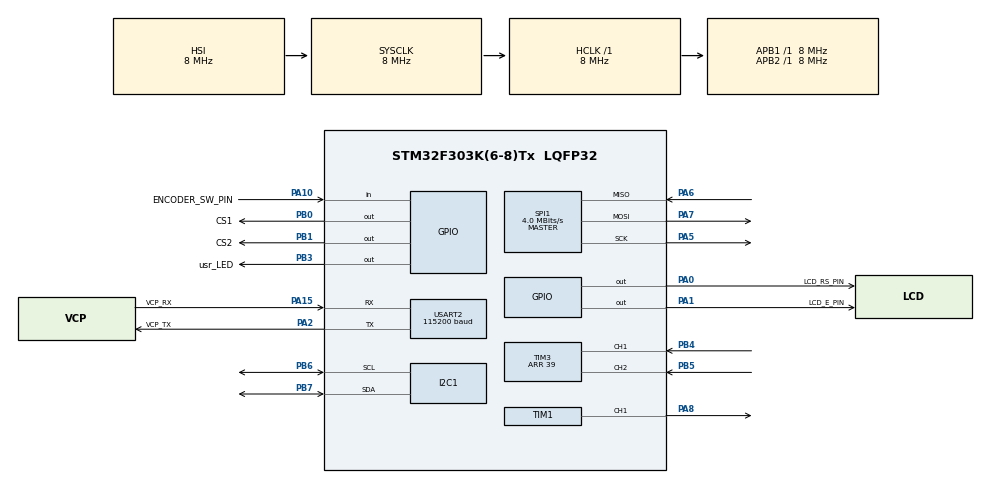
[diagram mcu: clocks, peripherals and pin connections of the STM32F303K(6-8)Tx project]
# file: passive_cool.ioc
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I2C1.Timing=0x00201D2B
Mcu.Family=STM32F3
Mcu.Name=STM32F303K(6-8)Tx
Mcu.Package=LQFP32
NVIC.PriorityGroup=NVIC_PRIORITYGROUP_4
PA0.GPIO_Label=LCD_RS_PIN
PA0.Signal=GPIO_Output
PA1.GPIO_Label=LCD_E_PIN
PA1.Signal=GPIO_Output
PA10.GPIO_Label=ENCODER_SW_PIN
PA10.GPIO_PuPd=GPIO_PULLUP
PA10.Signal=GPIO_Input
PA15.GPIO_Label=VCP_RX
PA15.Mode=Asynchronous
PA15.Signal=USART2_RX
PA2.GPIO_Label=VCP_TX
PA2.Mode=Asynchronous
PA2.Signal=USART2_TX
PA5.Mode=Full_Duplex_Master
PA5.Signal=SPI1_SCK
PA6.Mode=Full_Duplex_Master
PA6.Signal=SPI1_MISO
PA7.Mode=Full_Duplex_Master
PA7.Signal=SPI1_MOSI
PA8.Signal=S_TIM1_CH1
PB0.GPIO_Label=CS1
PB0.PinState=GPIO_PIN_SET
PB0.Signal=GPIO_Output
PB1.GPIO_Label=CS2
PB1.PinState=GPIO_PIN_SET
PB1.Signal=GPIO_Output
PB3.GPIO_Label=usr_LED
PB3.Signal=GPIO_Output
PB4.Signal=S_TIM3_CH1
PB5.Signal=S_TIM3_CH2
PB6.GPIO_Pu=GPIO_PULLUP
PB6.Mode=I2C
PB6.Signal=I2C1_SCL
PB7.GPIO_Pu=GPIO_PULLUP
PB7.Mode=I2C
PB7.Signal=I2C1_SDA
PF0\ /\ OSC_IN.GPIO_Label=MCO
PF0\ /\ OSC_IN.Mode=HSE-External-Clock-Source
PF0\ /\ OSC_IN.Signal=RCC_OSC_IN
ProjectManager.HeapSize=0x200
ProjectManager.StackSize=0x400
ProjectManager.TargetToolchain=CMake
RCC.AHBFreq_Value=8000000
RCC.APB1Freq_Value=8000000
RCC.APB2Freq_Value=8000000
RCC.CortexFreq_Value=8000000
RCC.HSE_VALUE=8000000
RCC.HSI_VALUE=8000000
RCC.PLLMUL=RCC_PLL_MUL4
RCC.SYSCLKFreq_VALUE=8000000
SH.S_TIM1_CH1.0=TIM1_CH1,PWM Generation1 CH1
SH.S_TIM3_CH1.0=TIM3_CH1,Encoder_Interface
SH.S_TIM3_CH2.0=TIM3_CH2,Encoder_Interface
SPI1.CalculateBaudRate=4.0 MBits/s
SPI1.DataSize=SPI_DATASIZE_8BIT
SPI1.Direction=SPI_DIRECTION_2LINES
SPI1.Mode=SPI_MODE_MASTER
SPI1.VirtualType=VM_MASTER
TIM1.AutoReloadPreload=TIM_AUTORELOAD_PRELOAD_ENABLE
TIM1.Channel-PWM\ Generation1\ CH1=TIM_CHANNEL_1
TIM1.OC1Preload_PWM=DISABLE
TIM1.Prescaler=7
TIM1.Pulse-PWM\ Generation1\ CH1=1500
TIM3.Period=39
USART2.BaudRate=115200
USART2.VirtualMode-Asynchronous=VM_ASYNC
VP_TIM1_VS_ClockSourceINT.Mode=Internal
board=NUCLEO-F303K8

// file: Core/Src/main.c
/* USER CODE BEGIN Header */
/**
  ******************************************************************************
  * @file           : main.c
  * @brief          : Main program body
  ******************************************************************************
  */
/* USER CODE END Header */
#include "main.h"
#include "i2c.h"
#include "tim.h"
#include "usart.h"
#include "gpio.h"
#include "spi.h"

/* USER CODE BEGIN Includes */
#include <stdio.h>
#include <unistd.h>

#include "tsl2561.h"
#include "encoder.h"
#include "servo.h"
#include "bme280.h"

/* USER CODE END Includes */

/* USER CODE BEGIN PTD */
extern TIM_HandleTypeDef htim1; // Servo timer
extern TIM_HandleTypeDef htim3; // Encoder timer

/* USER CODE END PTD */

/* USER CODE BEGIN PD */
BME280_Handle bme1, bme2;
BME280_Data   data1, data2;

/* USER CODE END PD */

/* USER CODE BEGIN PV */

// /* USER CODE END PV */

// /* Private function prototypes -----------------------------------------------*/
void SystemClock_Config(void);
// /* USER CODE BEGIN PFP */

/* USER CODE END PFP */

/* USER CODE BEGIN 0 */
#ifdef __GNUC__

int _write(int file, char *ptr, int len)
{
    HAL_UART_Transmit(&huart2, (uint8_t *)ptr, len, HAL_MAX_DELAY);
    return len;
}
#endif
/* USER CODE END 0 */

int main(void)
{

  /* MCU Configuration--------------------------------------------------------*/

  /* Reset of all peripherals, Initializes the Flash interface and the Systick. */
  HAL_Init();

  /* Configure the system clock */
  SystemClock_Config();

  /* USER CODE BEGIN SysInit */

  MX_GPIO_Init();
  MX_USART2_UART_Init();
  HAL_Delay(500);
  printf("Before I2C init\r\n");
  MX_I2C1_Init();
  printf("After I2C init\r\n");
  MX_SPI1_Init();

  MX_TIM1_Init();
  MX_TIM3_Init();

  // BME280 setup
bme1.hspi    = &hspi1;
bme1.cs_port = GPIOB;
bme1.cs_pin  = GPIO_PIN_0;

bme1.cfg.os_temp  = BME280_OS_2X;
bme1.cfg.os_press = BME280_OS_4X;
bme1.cfg.os_hum   = BME280_OS_1X;
bme1.cfg.standby  = BME280_STANDBY_500MS;
bme1.cfg.filter   = BME280_FILTER_4;
// Sensor 2 Config - same settings but different CS pin
bme2.hspi    = &hspi1;
bme2.cs_port = GPIOB;
bme2.cs_pin  = GPIO_PIN_1;   // whatever pin you chose for CS2
bme2.cfg.os_temp  = BME280_OS_2X;
bme2.cfg.os_press = BME280_OS_4X;
bme2.cfg.os_hum   = BME280_OS_1X;
bme2.cfg.standby  = BME280_STANDBY_500MS;
bme2.cfg.filter   = BME280_FILTER_4;

printf("BME280 #1 init...\r\n");
if (BME280_Init(&bme1) != BME280_OK) {
    printf("BME280 #1 FAILED\r\n");
    Error_Handler();
}
printf("BME280 #1 OK\r\n");

printf("BME280 #2 init...\r\n");
if (BME280_Init(&bme2) != BME280_OK) {
    printf("BME280 #2 FAILED\r\n");
    Error_Handler();
}
printf("BME280 #2 OK\r\n");
  /* USER CODE END SysInit */

  /* Initialize all configured peripherals */

  /* USER CODE BEGIN 2 */
  float max_delta = 0.5f;
  #define MAX_DELTA_MIN  0.5f
  #define MAX_DELTA_MAX  20.0f
  EncoderMode_t mode = ENCODER_MODE_DISABLED;
  int32_t enc = 0;
  uint8_t btn_last = 1;

  encoder_init(&htim3);
  servo_init(&htim1);
  servo_set_angle(90);

    HAL_GPIO_TogglePin(usr_LED_GPIO_Port, usr_LED_Pin);
    printf("Setup complete\r\n");
    HAL_StatusTypeDef st = HAL_I2C_IsDeviceReady(&hi2c1, 0x01 << 1, 3, 100);
    printf("TSL2561 @0x49 status = %d\r\n", st);

        HAL_Delay(5000);

  /* USER CODE END 2 */

  /* Infinite loop */
while (1) {

    /* USER CODE BEGIN 3 */

    // Read both sensors
    float temp_delta = 0.0f;

    if (BME280_Read(&bme1, &data1) == BME280_OK &&
        BME280_Read(&bme2, &data2) == BME280_OK) {

        temp_delta = data1.temperature - data2.temperature;
        if (temp_delta < 0) temp_delta = -temp_delta;

        printf("S1 T:%.2f  S2 T:%.2f  Delta:%.2f C\r\n",
               data1.temperature, data2.temperature, temp_delta);
    } else {
        printf("BME280 read error\r\n");
    }

    HAL_Delay(500);
    encoder_update();

uint8_t btn_raw = HAL_GPIO_ReadPin(ENCODER_SW_PORT, ENCODER_SW_PIN);

// Trigger on rising edge (release) — more reliable than press edge
if (btn_raw == 1 && btn_last == 0) {
    HAL_Delay(20);   // debounce the release
    if (HAL_GPIO_ReadPin(ENCODER_SW_PORT, ENCODER_SW_PIN) == 1) {
        mode = (mode == ENCODER_MODE_ENABLED)
             ? ENCODER_MODE_DISABLED
             : ENCODER_MODE_ENABLED;
        printf("BTN PRESS -> %s\r\n",
               mode == ENCODER_MODE_ENABLED ? "ENABLED" : "DISABLED");
    }
}
btn_last = btn_raw;

    if (mode == ENCODER_MODE_ENABLED) {
        // Encoder knob maps to max_delta range
        // encoder_get_angle() returns 0-180, rescale to MAX_DELTA_MIN-MAX_DELTA_MAX
        float knob = encoder_get_angle();  // 0.0 - 180.0
        max_delta  = MAX_DELTA_MIN
                   + (knob / 180.0f) * (MAX_DELTA_MAX - MAX_DELTA_MIN);

        // Subtract natural sensor offset so baseline reads as zero deflection
        #define BASELINE_DELTA  1.0f
        float adjusted = temp_delta - BASELINE_DELTA;
        if (adjusted < 0.0f) adjusted = 0.0f;

        float clamped    = adjusted > max_delta ? max_delta : adjusted;
        uint8_t servo_angle = (uint8_t)((clamped / max_delta) * 180.0f);

        servo_set_angle_damped(servo_angle);
        printf("ON  Delta:%.2f  MaxDelta:%.1f  Servo:%d  CNT:%ld  btn=%d\r\n",
               temp_delta, max_delta, servo_angle, enc, btn_raw);
        } else {
          float angle = encoder_get_angle();
          servo_set_angle_damped((uint8_t)angle);
          printf("OFF Delta:%.2f  Angle:%.1f  CNT:%ld  btn=%d\r\n",
          temp_delta, angle, enc, btn_raw);
}
}

}

  /* USER CODE END 3 */

void SystemClock_Config(void)
{
  RCC_OscInitTypeDef RCC_OscInitStruct = {0};
  RCC_ClkInitTypeDef RCC_ClkInitStruct = {0};
  RCC_PeriphCLKInitTypeDef PeriphClkInit = {0};

  /** Initializes the RCC Oscillators according to the specified parameters
  * in the RCC_OscInitTypeDef structure.
  */
  RCC_OscInitStruct.OscillatorType = RCC_OSCILLATORTYPE_HSI;
  RCC_OscInitStruct.HSIState = RCC_HSI_ON;
  RCC_OscInitStruct.HSICalibrationValue = RCC_HSICALIBRATION_DEFAULT;
  RCC_OscInitStruct.PLL.PLLState = RCC_PLL_NONE;
  if (HAL_RCC_OscConfig(&RCC_OscInitStruct) != HAL_OK)
  {
    Error_Handler();
  }

  /** Initializes the CPU, AHB and APB buses clocks
  */
  RCC_ClkInitStruct.ClockType = RCC_CLOCKTYPE_HCLK|RCC_CLOCKTYPE_SYSCLK
                              |RCC_CLOCKTYPE_PCLK1|RCC_CLOCKTYPE_PCLK2;
  RCC_ClkInitStruct.SYSCLKSource = RCC_SYSCLKSOURCE_HSI;
  RCC_ClkInitStruct.AHBCLKDivider = RCC_SYSCLK_DIV1;
  RCC_ClkInitStruct.APB1CLKDivider = RCC_HCLK_DIV1;
  RCC_ClkInitStruct.APB2CLKDivider = RCC_HCLK_DIV1;

  if (HAL_RCC_ClockConfig(&RCC_ClkInitStruct, FLASH_LATENCY_0) != HAL_OK)
  {
    Error_Handler();
  }
  PeriphClkInit.PeriphClockSelection = RCC_PERIPHCLK_I2C1|RCC_PERIPHCLK_TIM1;
  PeriphClkInit.I2c1ClockSelection = RCC_I2C1CLKSOURCE_HSI;
  PeriphClkInit.Tim1ClockSelection = RCC_TIM1CLK_HCLK;
  if (HAL_RCCEx_PeriphCLKConfig(&PeriphClkInit) != HAL_OK)
  {
    Error_Handler();
  }
}

/* USER CODE BEGIN 4 */

// void BME280_ReadCalibration(void)
// {
//     uint8_t calib[24];
//     uint8_t reg = 0x88;
//     HAL_I2C_Master_Transmit(&hi2c1, 0x76 << 1, &reg, 1, 100);
//     HAL_I2C_Master_Receive(&hi2c1, 0x76 << 1, calib, 24, 100);

//     bme280_calib.dig_T1 = ((uint16_t)calib[1] << 8) | calib[0];
//     bme280_calib.dig_T2 = (int16_t)(((uint16_t)calib[3] << 8) | calib[2]);
//     bme280_calib.dig_T3 = (int16_t)(((uint16_t)calib[5] << 8) | calib[4]);
//     bme280_calib.dig_P1 = ((uint16_t)calib[7] << 8) | calib[6];
//     bme280_calib.dig_P2 = (int16_t)(((uint16_t)calib[9] << 8)  | calib[8]);
//     bme280_calib.dig_P3 = (int16_t)(((uint16_t)calib[11] << 8) | calib[10]);
//     bme280_calib.dig_P4 = (int16_t)(((uint16_t)calib[13] << 8) | calib[12]);
//     bme280_calib.dig_P5 = (int16_t)(((uint16_t)calib[15] << 8) | calib[14]);
//     bme280_calib.dig_P6 = (int16_t)(((uint16_t)calib[17] << 8) | calib[16]);
//     bme280_calib.dig_P7 = (int16_t)(((uint16_t)calib[19] << 8) | calib[18]);
//     bme280_calib.dig_P8 = (int16_t)(((uint16_t)calib[21] << 8) | calib[20]);
//     bme280_calib.dig_P9 = (int16_t)(((uint16_t)calib[23] << 8) | calib[22]);

//     reg = 0xA1;
//     HAL_I2C_Master_Transmit(&hi2c1, 0x76 << 1, &reg, 1, 100);
//     HAL_I2C_Master_Receive(&hi2c1, 0x76 << 1, &bme280_calib.dig_H1, 1, 100);

//     uint8_t calib_h[7];
//     reg = 0xE1;
//     HAL_I2C_Master_Transmit(&hi2c1, 0x76 << 1, &reg, 1, 100);
//     HAL_I2C_Master_Receive(&hi2c1, 0x76 << 1, calib_h, 7, 100);

//     bme280_calib.dig_H2 = (int16_t)(((uint16_t)calib_h[1] << 8) | calib_h[0]);
//     bme280_calib.dig_H3 = calib_h[2];
//     bme280_calib.dig_H4 = (int16_t)((calib_h[3] << 4) | (calib_h[4] & 0x0F));
//     bme280_calib.dig_H5 = (int16_t)((calib_h[5] << 4) | (calib_h[4] >> 4));
//     bme280_calib.dig_H6 = (int8_t)calib_h[6];
// }

// void BME280_Init(void)
// {
//     uint8_t data[2];

//     // Humidity oversampling x1 — must be written before ctrl_meas
//     data[0] = 0xF2; data[1] = 0x01;
//     HAL_I2C_Master_Transmit(&hi2c1, 0x76 << 1, data, 2, 100);
//     HAL_Delay(10);

//     // Temp+pressure oversampling x1, normal mode
//     data[0] = 0xF4; data[1] = 0x27;
//     HAL_I2C_Master_Transmit(&hi2c1, 0x76 << 1, data, 2, 100);
//     HAL_Delay(10);

//     // Standby 1000ms, filter off
//     data[0] = 0xF5; data[1] = 0xA0;
//     HAL_I2C_Master_Transmit(&hi2c1, 0x76 << 1, data, 2, 100);
// }

// float BME280_ReadTemperature(void)
// {
//     uint8_t data[3];
//     uint8_t reg = 0xFA;
//     HAL_I2C_Master_Transmit(&hi2c1, 0x76 << 1, &reg, 1, 100);
//     HAL_I2C_Master_Receive(&hi2c1, 0x76 << 1, data, 3, 100);

//     int32_t adc_T = ((int32_t)data[0] << 12) | ((int32_t)data[1] << 4) | (data[2] >> 4);

//     int32_t var1 = ((((adc_T >> 3) - ((int32_t)bme280_calib.dig_T1 << 1))) *
//                    ((int32_t)bme280_calib.dig_T2)) >> 11;
//     int32_t var2 = (((((adc_T >> 4) - ((int32_t)bme280_calib.dig_T1)) *
//                    ((adc_T >> 4) - ((int32_t)bme280_calib.dig_T1))) >> 12) *
//                    ((int32_t)bme280_calib.dig_T3)) >> 14;

//     t_fine = var1 + var2;
//     return (float)((t_fine * 5 + 128) >> 8) / 100.0f;
// }

// float BME280_ReadPressure(void)
// {
//     uint8_t data[3];
//     uint8_t reg = 0xF7;
//     HAL_I2C_Master_Transmit(&hi2c1, 0x76 << 1, &reg, 1, 100);
//     HAL_I2C_Master_Receive(&hi2c1, 0x76 << 1, data, 3, 100);

//     int32_t adc_P = ((int32_t)data[0] << 12) | ((int32_t)data[1] << 4) | (data[2] >> 4);

//     int64_t var1 = ((int64_t)t_fine) - 128000;
//     int64_t var2 = var1 * var1 * (int64_t)bme280_calib.dig_P6;
//     var2 = var2 + ((var1 * (int64_t)bme280_calib.dig_P5) << 17);
//     var2 = var2 + (((int64_t)bme280_calib.dig_P4) << 35);
//     var1 = ((var1 * var1 * (int64_t)bme280_calib.dig_P3) >> 8) +
//            ((var1 * (int64_t)bme280_calib.dig_P2) << 12);
//     var1 = (((((int64_t)1) << 47) + var1)) * ((int64_t)bme280_calib.dig_P1) >> 33;
//     if (var1 == 0) return 0;
//     int64_t p = 1048576 - adc_P;
//     p = (((p << 31) - var2) * 3125) / var1;
//     var1 = (((int64_t)bme280_calib.dig_P9) * (p >> 13) * (p >> 13)) >> 25;
//     var2 = (((int64_t)bme280_calib.dig_P8) * p) >> 19;
//     p = ((p + var1 + var2) >> 8) + (((int64_t)bme280_calib.dig_P7) << 4);
//     return (float)p / 25600.0f;
// }

// float BME280_ReadHumidity(void)
// {
//     uint8_t data[2];
//     uint8_t reg = 0xFD;
//     HAL_I2C_Master_Transmit(&hi2c1, 0x76 << 1, &reg, 1, 100);
//     HAL_I2C_Master_Receive(&hi2c1, 0x76 << 1, data, 2, 100);

//     int32_t adc_H = ((int32_t)data[0] << 8) | data[1];

//     int32_t var1 = t_fine - 76800;
//     var1 = (((((adc_H << 14) - ((int32_t)bme280_calib.dig_H4 << 20) -
//              ((int32_t)bme280_calib.dig_H5 * var1)) + 16384) >> 15) *
//             (((((((var1 * (int32_t)bme280_calib.dig_H6) >> 10) *
//              (((var1 * (int32_t)bme280_calib.dig_H3) >> 11) + 32768)) >> 10) +
//              2097152) * (int32_t)bme280_calib.dig_H2 + 8192) >> 14));
//     var1 = var1 - (((((var1 >> 15) * (var1 >> 15)) >> 7) *
//                   (int32_t)bme280_calib.dig_H1) >> 4);
//     var1 = (var1 < 0) ? 0 : var1;
//     var1 = (var1 > 419430400) ? 419430400 : var1;
//     return (float)(var1 >> 12) / 1024.0f;
// }
/* USER CODE END 4 */

void Error_Handler(void)
{
  /* USER CODE BEGIN Error_Handler_Debug */
  /* User can add his own implementation to report the HAL error return state */
      printf("Error occurred!\r\n");
    HAL_Delay(1000);
  __disable_irq();
  while (1)
  {}

  /* USER CODE END Error_Handler_Debug */
}
